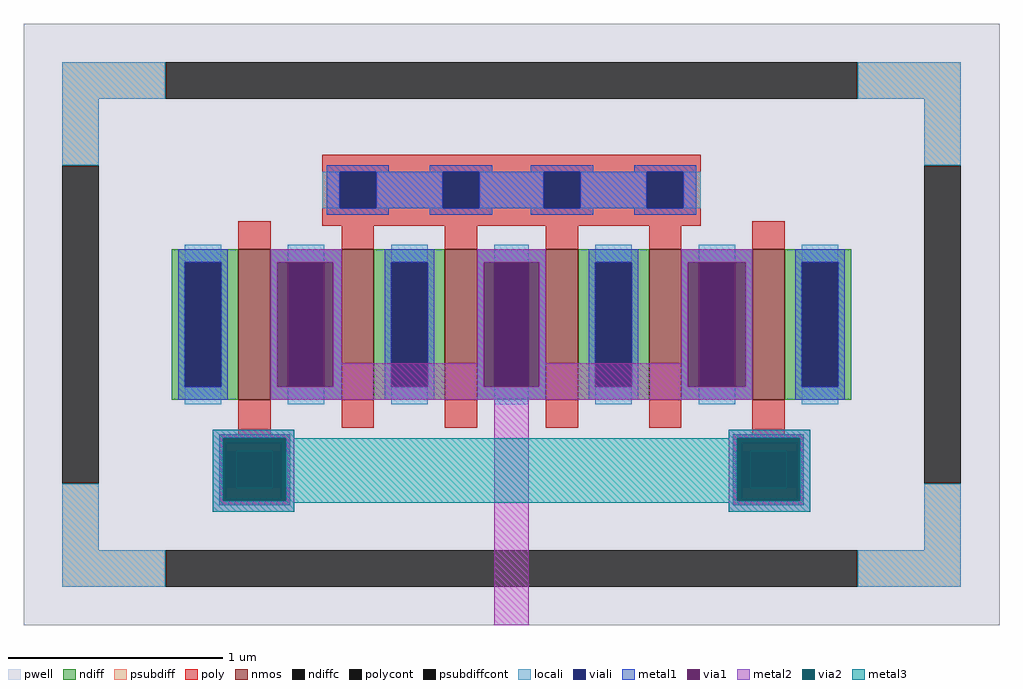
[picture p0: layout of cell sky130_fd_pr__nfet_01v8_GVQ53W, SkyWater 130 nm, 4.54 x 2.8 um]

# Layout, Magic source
magic
tech sky130A
<< pwell >>
rect -227 -140 227 140
<< nmos >>
rect -127 -35 -112 35
rect -79 -35 -64 35
rect -31 -35 -16 35
rect 16 -35 31 35
rect 64 -35 79 35
rect 112 -35 127 35
<< ndiff >>
rect -158 29 -127 35
rect -158 -29 -152 29
rect -135 -29 -127 29
rect -158 -35 -127 -29
rect -112 29 -79 35
rect -112 -29 -104 29
rect -87 -29 -79 29
rect -112 -35 -79 -29
rect -64 29 -31 35
rect -64 -29 -56 29
rect -39 -29 -31 29
rect -64 -35 -31 -29
rect -16 29 16 35
rect -16 -29 -8 29
rect 8 -29 16 29
rect -16 -35 16 -29
rect 31 29 64 35
rect 31 -29 39 29
rect 56 -29 64 29
rect 31 -35 64 -29
rect 79 29 112 35
rect 79 -29 87 29
rect 104 -29 112 29
rect 79 -35 112 -29
rect 127 29 158 35
rect 127 -29 135 29
rect 152 -29 158 29
rect 127 -35 158 -29
<< ndiffc >>
rect -152 -29 -135 29
rect -104 -29 -87 29
rect -56 -29 -39 29
rect -8 -29 8 29
rect 39 -29 56 29
rect 87 -29 104 29
rect 135 -29 152 29
<< psubdiff >>
rect -209 105 -161 122
rect 161 105 209 122
rect -209 74 -192 105
rect 192 74 209 105
rect -209 -105 -192 -74
rect 192 -105 209 -74
rect -209 -122 -161 -105
rect 161 -122 209 -105
<< psubdiffcont >>
rect -161 105 161 122
rect -209 -74 -192 74
rect 192 -74 209 74
rect -161 -122 161 -105
<< poly >>
rect -88 71 88 79
rect -88 54 -80 71
rect -63 54 -32 71
rect -15 54 15 71
rect 32 54 63 71
rect 80 54 88 71
rect -127 35 -112 48
rect -88 46 88 54
rect -79 35 -64 46
rect -31 35 -16 46
rect 16 35 31 46
rect 64 35 79 46
rect 112 35 127 48
rect -127 -51 -112 -35
rect -79 -48 -64 -35
rect -31 -48 -16 -35
rect 16 -48 31 -35
rect 64 -48 79 -35
rect 112 -51 127 -35
rect -136 -59 -103 -51
rect -136 -76 -128 -59
rect -111 -76 -103 -59
rect -136 -84 -103 -76
rect 103 -59 136 -51
rect 103 -76 111 -59
rect 128 -76 136 -59
rect 103 -84 136 -76
<< polycont >>
rect -80 54 -63 71
rect -32 54 -15 71
rect 15 54 32 71
rect 63 54 80 71
rect -128 -76 -111 -59
rect 111 -76 128 -59
<< locali >>
rect -209 105 -161 122
rect 161 105 209 122
rect -209 74 -192 105
rect 192 74 209 105
rect -88 54 -80 71
rect -63 54 -32 71
rect -15 54 15 71
rect 32 54 63 71
rect 80 54 88 71
rect -152 29 -135 37
rect -152 -37 -135 -29
rect -104 29 -87 37
rect -104 -37 -87 -29
rect -56 29 -39 37
rect -56 -37 -39 -29
rect -8 29 8 37
rect -8 -37 8 -29
rect 39 29 56 37
rect 39 -37 56 -29
rect 87 29 104 37
rect 87 -37 104 -29
rect 135 29 152 37
rect 135 -37 152 -29
rect -209 -105 -192 -74
rect -136 -76 -128 -59
rect -111 -76 -103 -59
rect 103 -76 111 -59
rect 128 -76 136 -59
rect 192 -105 209 -74
rect -209 -122 -161 -105
rect 161 -122 209 -105
<< viali >>
rect -80 54 -63 71
rect -32 54 -15 71
rect 15 54 32 71
rect 63 54 80 71
rect -152 -29 -135 29
rect -104 -29 -87 29
rect -56 -29 -39 29
rect -8 -29 8 29
rect 39 -29 56 29
rect 87 -29 104 29
rect 135 -29 152 29
rect -128 -76 -111 -59
rect 111 -76 128 -59
<< metal1 >>
rect -86 71 -57 74
rect -38 71 -9 74
rect 9 71 38 74
rect 57 71 86 74
rect -86 54 -80 71
rect -63 54 -32 71
rect -15 54 15 71
rect 32 54 63 71
rect 80 54 86 71
rect -86 51 -57 54
rect -38 51 -9 54
rect 9 51 38 54
rect 57 51 86 54
rect -155 29 -132 35
rect -155 -29 -152 29
rect -135 -29 -132 29
rect -155 -35 -132 -29
rect -112 29 -79 35
rect -112 -29 -109 29
rect -83 -29 -79 29
rect -112 -35 -79 -29
rect -59 29 -36 35
rect -59 -29 -56 29
rect -39 -29 -36 29
rect -59 -35 -36 -29
rect -16 29 16 35
rect -16 -29 -13 29
rect 13 -29 16 29
rect -16 -35 16 -29
rect 36 29 59 35
rect 36 -29 39 29
rect 56 -29 59 29
rect 36 -35 59 -29
rect 79 29 112 35
rect 79 -29 82 29
rect 109 -29 112 29
rect 79 -35 112 -29
rect 132 29 155 35
rect 132 -29 135 29
rect 152 -29 155 29
rect 132 -35 155 -29
rect -136 -55 -103 -51
rect -136 -81 -133 -55
rect -107 -81 -103 -55
rect -136 -84 -103 -81
rect 103 -55 136 -51
rect 103 -81 107 -55
rect 133 -81 136 -55
rect 103 -84 136 -81
<< via1 >>
rect -109 -29 -104 29
rect -104 -29 -87 29
rect -87 -29 -83 29
rect -13 -29 -8 29
rect -8 -29 8 29
rect 8 -29 13 29
rect 82 -29 87 29
rect 87 -29 104 29
rect 104 -29 109 29
rect -133 -59 -107 -55
rect -133 -76 -128 -59
rect -128 -76 -111 -59
rect -111 -76 -107 -59
rect -133 -81 -107 -76
rect 107 -59 133 -55
rect 107 -76 111 -59
rect 111 -76 128 -59
rect 128 -76 133 -59
rect 107 -81 133 -76
<< metal2 >>
rect -112 29 -79 35
rect -112 -29 -109 29
rect -83 -18 -79 29
rect -16 29 16 35
rect -16 -18 -13 29
rect -83 -29 -13 -18
rect 13 -18 16 29
rect 79 29 112 35
rect 79 -18 82 29
rect 13 -29 82 -18
rect 109 -29 112 29
rect -112 -35 112 -29
rect -139 -53 -101 -49
rect -139 -82 -134 -53
rect -105 -82 -101 -53
rect -139 -87 -101 -82
rect -8 -140 8 -35
rect 101 -53 139 -49
rect 101 -82 105 -53
rect 134 -82 139 -53
rect 101 -87 139 -82
<< via2 >>
rect -134 -55 -105 -53
rect -134 -81 -133 -55
rect -133 -81 -107 -55
rect -107 -81 -105 -55
rect -134 -82 -105 -81
rect 105 -55 134 -53
rect 105 -81 107 -55
rect 107 -81 133 -55
rect 133 -81 134 -55
rect 105 -82 134 -81
<< metal3 >>
rect -139 -53 -101 -49
rect 101 -53 139 -49
rect -139 -53 139 -53
rect -139 -82 -134 -53
rect -105 -82 105 -53
rect 134 -82 139 -53
rect -139 -83 139 -82
rect -139 -87 -101 -83
rect 101 -87 139 -83
<< properties >>
string FIXED_BBOX -201 -113 201 113
string gencell sky130_fd_pr__nfet_01v8
string library sky130
string parameters w 0.7 l 0.150 m 1 nf 6 diffcov 100 polycov 100 guard 1 glc 1 grc 1 gtc 1 gbc 1 tbcov 100 rlcov 100 topc 1 botc 1 poverlap 0 doverlap 1 lmin 0.15 wmin 0.42 compatible {sky130_fd_pr__nfet_01v8 sky130_fd_pr__nfet_01v8_lvt  sky130_fd_bs_flash__special_sonosfet_star  sky130_fd_pr__nfet_g5v0d10v5 sky130_fd_pr__nfet_05v0_nvt  sky130_fd_pr__nfet_03v3_nvt} full_metal 1 viasrc 100 viadrn 100 viagate 100 viagb 0 viagr 0 viagl 0 viagt 0
<< end >>
